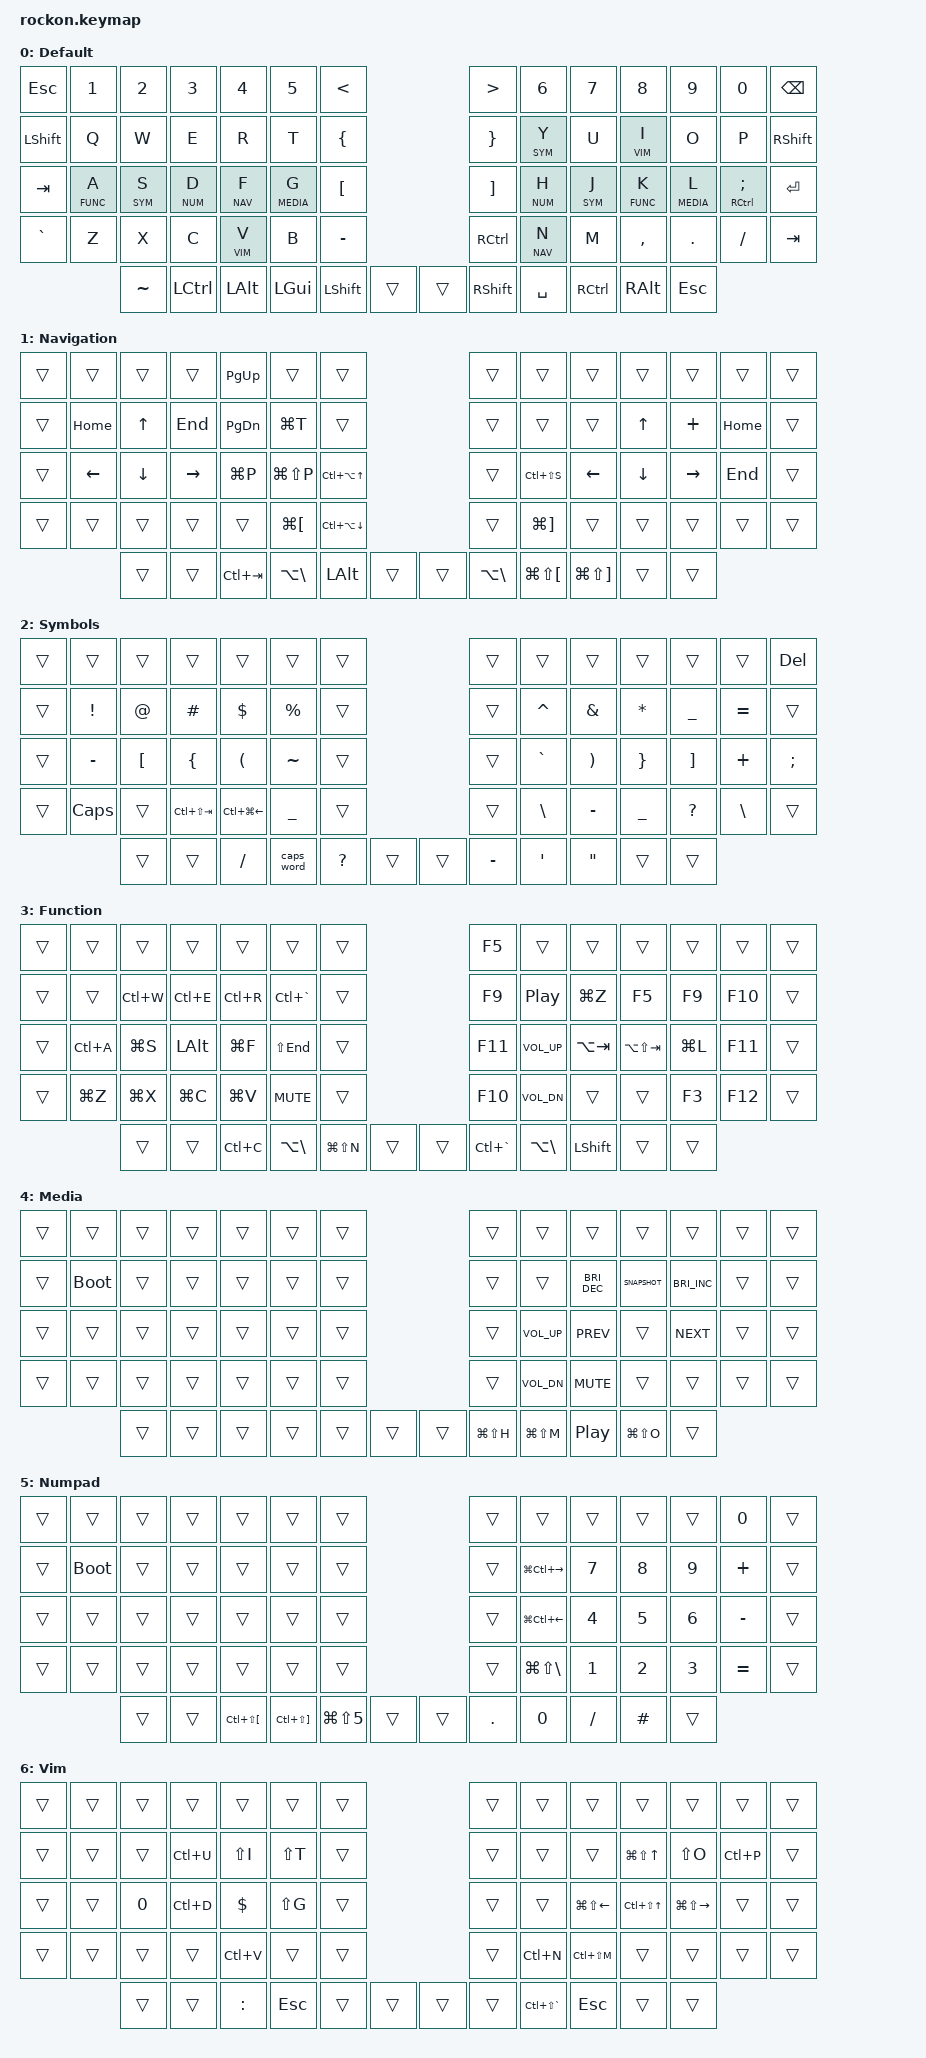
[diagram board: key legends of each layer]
#include <behaviors.dtsi>
#include <dt-bindings/zmk/keys.h>
#include <dt-bindings/zmk/rgb.h>
#include <dt-bindings/zmk/bt.h>
#include <dt-bindings/zmk/ext_power.h>
#include <dt-bindings/zmk/outputs.h>

#define DEFAULT 0
#define NAV     1
#define SYM     2
#define FUNC    3
#define MEDIA   4
#define NUM     5
#define VIM     6

&caps_word {
    continue-list = <UNDERSCORE MINUS>;
};

// / {
//     combos {
//         compatible = "zmk,combos";
//         combo_undo {
//             timeout-ms = <50>;
//             key-positions = <26 27>;
//             bindings = <&kp LC(Z)>;
//         };
//         combo_q {
//             timeout-ms = <50>;
//             key-positions = <27 28>;
//             bindings = <&kp Q>;
//         };
//         combo_semicolon {
//             timeout-ms = <50>;
//             key-positions = <33 34>;
//             bindings = <&kp SEMI>;
//         };
//     };
// };

// keys to add
// ctrl f, ctrl a, cmd l, ctrl w, ctr r

/ {
    behaviors {
        hm: homerow_mods {
            compatible = "zmk,behavior-hold-tap";
            label = "HOMEROW_MODS";
            #binding-cells = <2>;
            tapping-term-ms = <200>;
            quick_tap_ms = <0>;
            flavor = "balanced";
            bindings = <&kp>, <&kp>;
        };
        hs: homerow_shift {
            compatible = "zmk,behavior-hold-tap";
            label = "HOMEROW_SHIFT";
            #binding-cells = <2>;
            tapping-term-ms = <175>;
            quick_tap_ms = <0>;
            flavor = "balanced";
            bindings = <&kp>, <&kp>;
        };
    };

    keymap {
        compatible = "zmk,keymap";

        default_layer {
            label = "Default";
            bindings = <
    &kp ESC     &kp N1      &kp N2      &kp N3      &kp N4        &kp N5       &kp LT                                       &kp GT          &kp N6         &kp N7        &kp N8        &kp N9      &kp N0         &kp BSPC
    &kp LSHFT   &kp Q       &kp W       &kp E       &kp R         &kp T        &kp LBRC                                     &kp RBRC        &lt SYM Y      &kp U         &lt VIM I     &kp O       &kp P          &kp RSHFT       
    &kp TAB     &lt FUNC A  &lt SYM S   &lt NUM D   &lt NAV F     &lt MEDIA G  &kp LBKT                                     &kp RBKT        &lt NUM H      &lt SYM J     &lt FUNC K    &lt MEDIA L &hm RCTL SEMI  &kp RET
    &kp GRAVE   &kp Z       &kp X       &kp C       &lt VIM V     &kp B        &kp MINUS                                    &kp RCTRL       &lt NAV N      &kp M         &kp COMMA     &kp DOT     &kp FSLH       &kp TAB
                            &kp TILDE   &kp LCTL    &kp LALT      &kp LGUI     &kp LSHFT       &trans        &trans         &kp RSHFT       &kp SPACE      &kp RCTRL     &kp RALT      &kp ESC
                >;
            };

            nav_layer {
                label = "Navigation";
                
                bindings = <
    &trans     &trans       &trans       &trans        &kp PG_UP          &trans         &trans                                  &trans         &trans            &trans            &trans             &trans      &trans           &trans
    &trans     &kp HOME     &kp UP       &kp END       &kp PG_DN          &kp LG(T)      &trans                                  &trans         &trans            &trans            &kp UP             &kp PLUS    &kp HOME         &trans 
    &trans     &kp LEFT     &kp DOWN     &kp RIGHT     &kp LG(P)          &kp LG(LS(P))  &kp LC(LA(UP))                          &trans         &kp LC(LS(S))     &kp LEFT          &kp DOWN           &kp RIGHT   &kp END          &trans 
    &trans     &trans       &trans       &trans        &trans             &kp LG(LBKT)   &kp LC(LA(DOWN))                        &trans         &kp LG(RBKT)      &trans            &trans             &trans      &trans           &trans
                            &trans       &trans        &kp LC(TAB)        &kp LA(BSLH)   &kp LALT      &trans        &trans      &kp LA(BSLH)   &kp LG(LS(LBKT))  &kp LG(LS(RBKT))  &trans             &trans
            >;
        };

        sym_layer {
            label = "Symbols";

            bindings = <
    &trans     &trans       &trans       &trans          &trans           &trans        &trans                                  &trans         &trans        &trans            &trans        &trans      &trans      &kp DEL
    &trans     &kp EXCL     &kp AT       &kp HASH        &kp DLLR         &kp PRCNT     &trans                                  &trans         &kp CARET     &kp AMPS       &kp ASTRK        &kp UNDER   &kp EQUAL   &trans
    &trans     &kp MINUS    &kp LBKT     &kp LBRC        &kp LPAR         &kp TILDE     &trans                                  &trans         &kp GRAVE     &kp RPAR       &kp RBRC         &kp RBKT    &kp PLUS    &kp SEMI
    &trans     &kp CAPS     &trans       &kp LC(LS(TAB)) &kp LC(LG(LEFT)) &kp UNDER     &trans                                  &trans         &kp BSLH      &kp MINUS      &kp UNDERSCORE   &kp QMARK   &kp BSLH    &trans
                            &trans       &trans          &kp FSLH         &caps_word    &kp QMARK      &trans        &trans     &kp MINUS      &kp SQT       &kp DQT        &trans           &trans
            >;
        };

        func_layer {
            label = "Function";

            bindings = <
    &trans     &trans       &trans        &trans       &trans        &trans        &trans                                         &kp F5        &trans           &trans         &trans             &trans          &trans      &trans
    &trans     &trans       &kp LC(W)     &kp LC(E)    &kp LC(R)     &kp LC(GRAVE) &trans                                         &kp F9        &kp C_PLAY_PAUSE &kp LG(Z)      &kp F5             &kp F9          &kp F10     &trans
    &trans     &kp LC(A)    &kp LG(S)     &kp LALT     &kp LG(F)     &kp LS(END)   &trans                                         &kp F11       &kp K_VOL_UP     &kp LA(TAB)    &kp LA(LS(TAB))    &kp LG(L)       &kp F11     &trans
    &trans     &kp LG(Z)    &kp LG(X)     &kp LG(C)    &kp LG(V)     &kp C_MUTE    &trans                                         &kp F10       &kp K_VOL_DN     &trans         &trans             &kp F3          &kp F12     &trans
                            &trans        &trans       &kp LC(C)     &kp LA(BSLH)  &kp LG(LS(N))      &trans        &trans        &kp LC(GRAVE) &kp LA(BSLH)     &kp LSHFT      &trans             &trans

            >;
        };

        media_layer {
            label = "Media";

            bindings = <

    &trans     &trans      &trans      &trans      &trans      &trans        &trans                                  &trans          &trans         &trans             &trans         &trans         &trans            &trans
    &trans     &bootloader &trans      &trans      &trans      &trans        &trans                                  &trans          &trans         &kp C_BRI_DEC      &kp C_SNAPSHOT &kp C_BRI_INC  &trans            &trans
    &trans     &trans      &trans      &trans      &trans      &trans        &trans                                  &trans          &kp K_VOL_UP   &kp K_PREV         &trans         &kp K_NEXT     &trans            &trans
    &trans     &trans      &trans      &trans      &trans      &trans        &trans                                  &trans          &kp K_VOL_DN   &kp C_MUTE         &trans         &trans         &trans            &trans
                           &trans      &trans      &trans      &trans        &trans      &trans        &trans        &kp LG(LS(H))   &kp LG(LS(M))  &kp C_PLAY_PAUSE   &kp LG(LS(O))  &trans
            >;
        };

        mouse_layer {
            label = "Numpad";

            bindings = <
    &trans     &trans      &trans      &trans      &trans           &trans            &trans                                  &trans      &trans                  &trans      &trans      &trans      &kp N0         &trans
    &trans     &bootloader &trans      &trans      &trans           &trans            &trans                                  &trans      &kp LG(LC(RIGHT))       &kp N7      &kp N8      &kp N9      &kp PLUS       &trans
    &trans     &trans      &trans      &trans      &trans           &trans            &trans                                  &trans      &kp LG(LC(LEFT))        &kp N4      &kp N5      &kp N6      &kp MINUS      &trans
    &trans     &trans      &trans      &trans      &trans           &trans            &trans                                  &trans      &kp LG(LS(BACKSLASH))   &kp N1      &kp N2      &kp N3      &kp EQUAL      &trans
                           &trans      &trans      &kp LC(LS(LBKT)) &kp LC(LS(RBKT))  &kp LG(LS(N5))  &trans        &trans    &kp PERIOD  &kp N0                  &kp FSLH    &kp HASH    &trans
            >;
        };

        winnav_layer {
            label = "Vim";

            bindings = <
    &trans     &trans       &trans       &trans       &trans        &trans     &trans                                  &trans     &trans              &trans                    &trans                    &trans                   &trans      &trans
    &trans     &trans       &trans       &kp LC(U)    &kp LS(I)     &kp LS(T)  &trans                                  &trans     &trans              &trans                    &kp LG(LS(UP_ARROW))      &kp LS(O)                &kp LC(P)   &trans
    &trans     &trans       &kp N0       &kp LC(D)    &kp DLLR      &kp LS(G)  &trans                                  &trans     &trans              &kp LG(LS(LEFT_ARROW))    &kp LC(LS(UP_ARROW))      &kp LG(LS(RIGHT_ARROW))  &trans      &trans
    &trans     &trans       &trans       &trans       &kp LC(V)     &trans     &trans                                  &trans     &kp LC(N)           &kp LC(LS(M))             &trans                    &trans                   &trans      &trans
                            &trans       &trans       &kp COLON     &kp ESC    &trans      &trans        &trans        &trans     &kp LC(LS(GRAVE))   &kp ESC                   &trans      &trans
            >;
        };
    };
};
